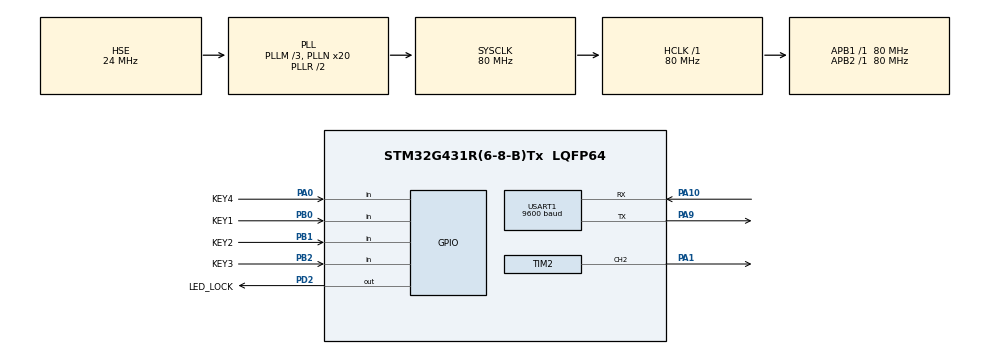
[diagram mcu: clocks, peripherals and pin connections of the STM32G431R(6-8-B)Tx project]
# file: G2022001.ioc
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Mcu.Family=STM32G4
Mcu.Name=STM32G431R(6-8-B)Tx
Mcu.Package=LQFP64
NVIC.PriorityGroup=NVIC_PRIORITYGROUP_4
NVIC.USART1_IRQn=true\:1\:0\:true\:false\:true\:true\:true
PA0.GPIO_Label=KEY4
PA0.Signal=GPIO_Input
PA1.Signal=S_TIM2_CH2
PA10.Mode=Asynchronous
PA10.Signal=USART1_RX
PA9.Mode=Asynchronous
PA9.Signal=USART1_TX
PB0.GPIO_Label=KEY1
PB0.Signal=GPIO_Input
PB1.GPIO_Label=KEY2
PB1.Signal=GPIO_Input
PB2.GPIO_Label=KEY3
PB2.Signal=GPIO_Input
PD2.GPIO_Label=LED_LOCK
PD2.Signal=GPIO_Output
PF0-OSC_IN.Mode=HSE-External-Oscillator
PF0-OSC_IN.Signal=RCC_OSC_IN
PF1-OSC_OUT.Mode=HSE-External-Oscillator
PF1-OSC_OUT.Signal=RCC_OSC_OUT
ProjectManager.HeapSize=0x200
ProjectManager.StackSize=0x400
ProjectManager.TargetToolchain=MDK-ARM V5.32
RCC.ADC12Freq_Value=80000000
RCC.AHBFreq_Value=80000000
RCC.APB1Freq_Value=80000000
RCC.APB1TimFreq_Value=80000000
RCC.APB2Freq_Value=80000000
RCC.APB2TimFreq_Value=80000000
RCC.CortexFreq_Value=80000000
RCC.EXTERNAL_CLOCK_VALUE=12288000
RCC.HCLKFreq_Value=80000000
RCC.HSE_VALUE=24000000
RCC.HSI48_VALUE=48000000
RCC.HSI_VALUE=16000000
RCC.LSE_VALUE=32768
RCC.PLLM=RCC_PLLM_DIV3
RCC.PLLN=20
RCC.PLLSourceVirtual=RCC_PLLSOURCE_HSE
RCC.SYSCLKFreq_VALUE=80000000
RCC.SYSCLKSource=RCC_SYSCLKSOURCE_PLLCLK
RCC.USBFreq_Value=80000000
RCC.VCOOutputFreq_Value=160000000
SH.S_TIM2_CH2.0=TIM2_CH2,PWM Generation2 CH2
TIM2.Channel-PWM\ Generation2\ CH2=TIM_CHANNEL_2
TIM2.PeriodNoDither=999
TIM2.Prescaler=79
TIM2.PulseNoDither_2=500
USART1.BaudRate=9600
USART1.VirtualMode-Asynchronous=VM_ASYNC
VP_SYS_VS_DBSignals.Mode=DisableDeadBatterySignals
board=custom

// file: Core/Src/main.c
/* USER CODE BEGIN Header */
/**
  ******************************************************************************
  * @file           : main.c
  * @brief          : Main program body
  ******************************************************************************
  * @attention
  *
  * <h2><center>&copy; Copyright (c) 2022 STMicroelectronics.
  * All rights reserved.</center></h2>
  *
  * This software component is licensed by ST under BSD 3-Clause license,
  * the "License"; You may not use this file except in compliance with the
  * License. You may obtain a copy of the License at:
  *                        opensource.org/licenses/BSD-3-Clause
  *
  ******************************************************************************
  */

  // ※ 晶振24M
  // ※ 仅供学习使用

/* USER CODE END Header */
#include "main.h"
#include "tim.h"
#include "usart.h"
#include "gpio.h"

/* USER CODE BEGIN Includes */
#include "lcd.h"
#include "bsp.h"

/* USER CODE END Includes */

typedef enum
{
    Set_1KHz,
    Set_2KHz
}PWM_f_Type;

typedef enum
{
    PSD,
    STA
}Meau_State_Type;

/* USER CODE BEGIN PD */
#define Task_Delay(ID, MS) \
    if(SW_Timer_Tick[ID] > HAL_GetTick()) return;\
    SW_Timer_Tick[ID] = HAL_GetTick() + MS;

#define UART_RX_LENTH_MAX 50

/* USER CODE END PD */

/* USER CODE BEGIN PV */
vu32 SW_Timer_Tick[5] = {0};
u8 LED_State = 0;
u8 KEY_Val, KEY_Down, KEY_Old = 0;
u8 UART_Rx_Index = 0;
u8 UART_Rx_Temp = 0;
u8 UART_Rx_Buffer[UART_RX_LENTH_MAX] = {0};
u8 LCD_String_Buffer[21] = {0};

Meau_State_Type Meau_State = PSD;

u8 Password_Disp[3] = {'@', '@', '@'};
u8 Password_Ctrl[3] = {'1', '2', '3'};
u8 Password_Right_Error_Flag = 0;
u8 Password_Error_Times = 0;
u8 Password_Error_Blink_Times = 0;

vu32 i = 0;

/* USER CODE END PV */

void SystemClock_Config(void);
/* USER CODE BEGIN PFP */
void LED1_Task(void);
void LED2_Task(void);
void KEY_Task(void);
void LCD_Task(void);
void UART_Task(void);

/* USER CODE END PFP */

int main(void)
{

  /* MCU Configuration--------------------------------------------------------*/

  /* Reset of all peripherals, Initializes the Flash interface and the Systick. */
  HAL_Init();

  /* USER CODE BEGIN Init */

    LCD_Init();
    LCD_Clear(Black);
    LCD_SetBackColor(Black);
    LCD_SetTextColor(White);

    LED_Disp(LED_State);

  /* USER CODE END Init */

  /* Configure the system clock */
  SystemClock_Config();

  /* Initialize all configured peripherals */
  MX_GPIO_Init();
  MX_TIM2_Init();
  MX_USART1_UART_Init();
  /* USER CODE BEGIN 2 */
  HAL_UART_Receive_IT(&huart1, &UART_Rx_Temp, 1);
  HAL_TIM_PWM_Start(&htim2, TIM_CHANNEL_2);

  /* USER CODE END 2 */

  /* Infinite loop */
  /* USER CODE BEGIN WHILE */
  while (1)
  {
    LED1_Task();
    LED2_Task();
    KEY_Task();
    LCD_Task();
    UART_Task();
    /* USER CODE END WHILE */

  }
}

void SystemClock_Config(void)
{
  RCC_OscInitTypeDef RCC_OscInitStruct = {0};
  RCC_ClkInitTypeDef RCC_ClkInitStruct = {0};
  RCC_PeriphCLKInitTypeDef PeriphClkInit = {0};

  /** Configure the main internal regulator output voltage
  */
  HAL_PWREx_ControlVoltageScaling(PWR_REGULATOR_VOLTAGE_SCALE1);
  /** Initializes the RCC Oscillators according to the specified parameters
  * in the RCC_OscInitTypeDef structure.
  */
  RCC_OscInitStruct.OscillatorType = RCC_OSCILLATORTYPE_HSE;
  RCC_OscInitStruct.HSEState = RCC_HSE_ON;
  RCC_OscInitStruct.PLL.PLLState = RCC_PLL_ON;
  RCC_OscInitStruct.PLL.PLLSource = RCC_PLLSOURCE_HSE;
  RCC_OscInitStruct.PLL.PLLM = RCC_PLLM_DIV3;
  RCC_OscInitStruct.PLL.PLLN = 20;
  RCC_OscInitStruct.PLL.PLLP = RCC_PLLP_DIV2;
  RCC_OscInitStruct.PLL.PLLQ = RCC_PLLQ_DIV2;
  RCC_OscInitStruct.PLL.PLLR = RCC_PLLR_DIV2;
  if (HAL_RCC_OscConfig(&RCC_OscInitStruct) != HAL_OK)
  {
    Error_Handler();
  }
  /** Initializes the CPU, AHB and APB buses clocks
  */
  RCC_ClkInitStruct.ClockType = RCC_CLOCKTYPE_HCLK|RCC_CLOCKTYPE_SYSCLK
                              |RCC_CLOCKTYPE_PCLK1|RCC_CLOCKTYPE_PCLK2;
  RCC_ClkInitStruct.SYSCLKSource = RCC_SYSCLKSOURCE_PLLCLK;
  RCC_ClkInitStruct.AHBCLKDivider = RCC_SYSCLK_DIV1;
  RCC_ClkInitStruct.APB1CLKDivider = RCC_HCLK_DIV1;
  RCC_ClkInitStruct.APB2CLKDivider = RCC_HCLK_DIV1;

  if (HAL_RCC_ClockConfig(&RCC_ClkInitStruct, FLASH_LATENCY_2) != HAL_OK)
  {
    Error_Handler();
  }
  /** Initializes the peripherals clocks
  */
  PeriphClkInit.PeriphClockSelection = RCC_PERIPHCLK_USART1;
  PeriphClkInit.Usart1ClockSelection = RCC_USART1CLKSOURCE_PCLK2;
  if (HAL_RCCEx_PeriphCLKConfig(&PeriphClkInit) != HAL_OK)
  {
    Error_Handler();
  }
}

/* USER CODE BEGIN 4 */
void Set_PWM_State(PWM_f_Type f)
{
    if(f == Set_1KHz)
    {
        __HAL_TIM_SetCompare(&htim2, TIM_CHANNEL_2, 500); // ※ 先调用这个函数
        __HAL_TIM_SetAutoreload(&htim2, 999);             // 然后在调用这个函数
    }
    else if(f == Set_2KHz)
    {
        __HAL_TIM_SetCompare(&htim2, TIM_CHANNEL_2, 100);
        __HAL_TIM_SetAutoreload(&htim2, 499);
    }
}

void Set_Meau_State(Meau_State_Type State)
{
    LCD_Clear(Black);

    if(State == PSD)
    {
        Meau_State = PSD;
    }
    else
    {
        Meau_State = STA;
        Password_Right_Error_Flag = 1;
        LED_State |= 0x01;
        LED_Disp(LED_State);
        SW_Timer_Tick[3] = HAL_GetTick() + 5000;
    }
}

void LED1_Task(void)
{
    Task_Delay(0, 100);

    if(Password_Error_Blink_Times)
    {
        Password_Error_Blink_Times--;

        LED_State ^= 2;
    }
    else
    {
        LED_State &= ~0X02;
    }
    LED_Disp(LED_State);
}

void LED2_Task(void)
{
    if(Password_Right_Error_Flag)
    {
        Task_Delay(3, 5000);

        Password_Right_Error_Flag = 0;

        Set_PWM_State(Set_1KHz);
        Set_Meau_State(PSD);

        LED_State &= ~0x01;
        LED_Disp(LED_State);
    }
}

void KEY_Task(void)
{
    Task_Delay(1, 50);
    KEY_Val = KEY_Scan();
    KEY_Down = KEY_Val & (KEY_Val ^ KEY_Old);
    KEY_Old = KEY_Val;

    if(Meau_State == 0)
    {
        switch(KEY_Down)
        {
        case 1:
            if(++Password_Disp[0]>'9')
                Password_Disp[0] = '0';
            break;

        case 2:
            if(++Password_Disp[1]>'9')
                Password_Disp[1] = '0';
            break;

        case 3:
            if(++Password_Disp[2]>'9')
                Password_Disp[2] = '0';
            break;

        case 4:
            if((Password_Ctrl[0] == Password_Disp[0]) && (Password_Ctrl[1] == Password_Disp[1]) && (Password_Ctrl[2] == Password_Disp[2]))
            {
                Set_PWM_State(Set_2KHz);
                Set_Meau_State(STA);
                Password_Error_Times = 0;
            }
            else
            {
                Password_Error_Times++;
                if(Password_Error_Times >= 3)
                    Password_Error_Blink_Times = 50;
            }

            for(i = 0; i < 3; i++)
            {
                Password_Disp[i] = '@';
            }
            break;
        }
    }
}

void LCD_Task(void)
{
    Task_Delay(2, 100);

    if(Meau_State == 0)
    {
        snprintf((char *)LCD_String_Buffer, 20, "       PSD");
        LCD_DisplayStringLine(Line1, LCD_String_Buffer);

        snprintf((char *)LCD_String_Buffer, 20, "    B1:%c",Password_Disp[0]);
        LCD_DisplayStringLine(Line3, LCD_String_Buffer);
        snprintf((char *)LCD_String_Buffer, 20, "    B2:%c",Password_Disp[1]);
        LCD_DisplayStringLine(Line4, LCD_String_Buffer);
        snprintf((char *)LCD_String_Buffer, 20, "    B3:%c",Password_Disp[2]);
        LCD_DisplayStringLine(Line5, LCD_String_Buffer);
    }
    else
    {
        snprintf((char *)LCD_String_Buffer, 20, "       STA");
        LCD_DisplayStringLine(Line1, LCD_String_Buffer);

        snprintf((char *)LCD_String_Buffer, 20, "    F:2000Hz");
        LCD_DisplayStringLine(Line3, LCD_String_Buffer);
        snprintf((char *)LCD_String_Buffer, 20, "    D:10%%");
        LCD_DisplayStringLine(Line4, LCD_String_Buffer);
    }
}

void HAL_UART_RxCpltCallback(UART_HandleTypeDef *huart)
{
    if(UART_Rx_Index < UART_RX_LENTH_MAX)
    {
        SW_Timer_Tick[4] = HAL_GetTick() + 20;
        UART_Rx_Buffer[UART_Rx_Index] = UART_Rx_Temp;
        UART_Rx_Index++;
    }
    else
    {
        SW_Timer_Tick[4] = HAL_GetTick() - 1; // 强制完成
    }

    HAL_UART_Receive_IT(&huart1, &UART_Rx_Temp, 1);
}

void UART_Task(void)
{
    if(UART_Rx_Index == 0) return;
    if(SW_Timer_Tick[4] > HAL_GetTick()) return;

    if(UART_Rx_Index == 7)
    {
        if((Password_Ctrl[0] == UART_Rx_Buffer[0]) && (Password_Ctrl[1] == UART_Rx_Buffer[1]) && (Password_Ctrl[2] == UART_Rx_Buffer[2])
            && ('-' == UART_Rx_Buffer[3]))
        {
            for(i = 0; i < 3; i++)
            {
                if(((UART_Rx_Buffer[4 + i] <= '9') && (UART_Rx_Buffer[4 + i] >= '0')) == 0)
                {
                    goto PASS;
                }
            }
            for(i = 0; i < 3; i++)
            {
                Password_Ctrl[i] = UART_Rx_Buffer[4 + i];
            }
        }
    }

    PASS:
    UART_Rx_Index = 0;
    memset(UART_Rx_Buffer, 0, 7);
}

/* USER CODE END 4 */

void Error_Handler(void)
{
  __disable_irq();
  while (1)
  {
  }
}

/************************ (C) COPYRIGHT STMicroelectronics *****END OF FILE****/
